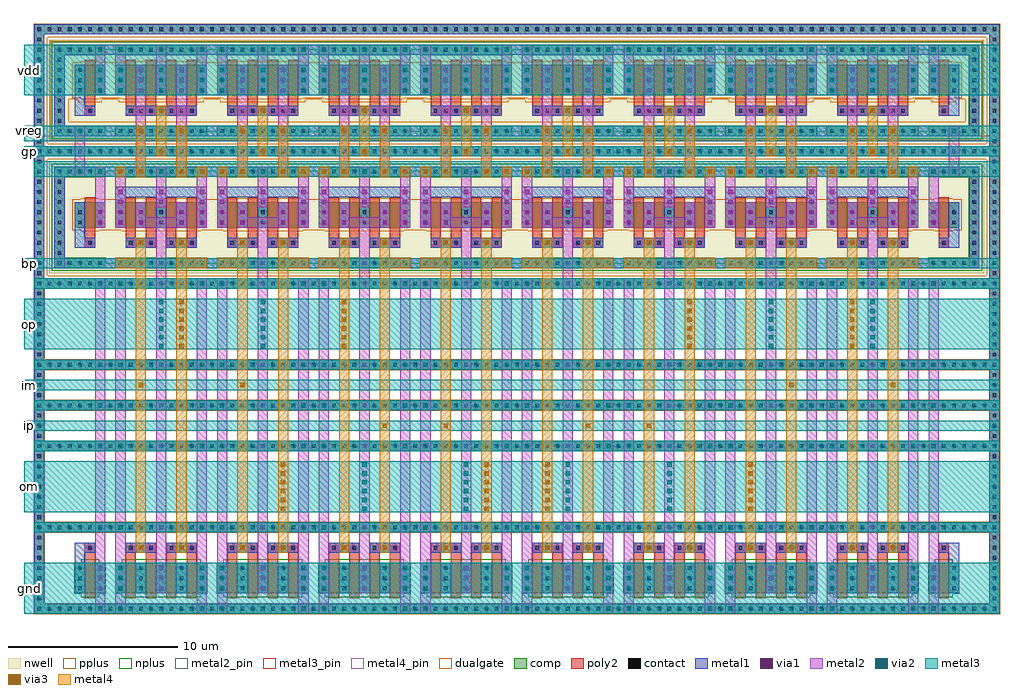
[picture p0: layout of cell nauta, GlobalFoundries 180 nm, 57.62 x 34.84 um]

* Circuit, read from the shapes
.subckt nauta bp gnd gp im ip om op vdd vreg
XM1 gnd nauta_edge_1/lo nauta_edge_1/lo gnd nfet_03v3 w=1.8u l=0.6u
XM2 nauta_cell_0/dl im gnd gnd nfet_03v3 w=1.8u l=0.6u
XM3 op im nauta_cell_0/dl gnd nfet_03v3 w=1.8u l=0.6u
XM4 nauta_cell_0/dr op op gnd nfet_03v3 w=1.8u l=0.6u
XM5 gnd op nauta_cell_0/dr gnd nfet_03v3 w=1.8u l=0.6u
XM6 nauta_cell_2/dl im gnd gnd nfet_03v3 w=1.8u l=0.6u
XM7 op im nauta_cell_2/dl gnd nfet_03v3 w=1.8u l=0.6u
XM8 nauta_cell_2/dr om op gnd nfet_03v3 w=1.8u l=0.6u
XM9 gnd om nauta_cell_2/dr gnd nfet_03v3 w=1.8u l=0.6u
XM10 nauta_cell_3/dl op gnd gnd nfet_03v3 w=1.8u l=0.6u
XM11 om op nauta_cell_3/dl gnd nfet_03v3 w=1.8u l=0.6u
XM12 nauta_cell_3/dr ip om gnd nfet_03v3 w=1.8u l=0.6u
XM13 gnd ip nauta_cell_3/dr gnd nfet_03v3 w=1.8u l=0.6u
XM14 nauta_cell_4/dl ip gnd gnd nfet_03v3 w=1.8u l=0.6u
XM15 om ip nauta_cell_4/dl gnd nfet_03v3 w=1.8u l=0.6u
XM16 nauta_cell_4/dr om om gnd nfet_03v3 w=1.8u l=0.6u
XM17 gnd om nauta_cell_4/dr gnd nfet_03v3 w=1.8u l=0.6u
XM18 nauta_cell_5/dl om gnd gnd nfet_03v3 w=1.8u l=0.6u
XM19 om om nauta_cell_5/dl gnd nfet_03v3 w=1.8u l=0.6u
XM20 nauta_cell_5/dr ip om gnd nfet_03v3 w=1.8u l=0.6u
XM21 gnd ip nauta_cell_5/dr gnd nfet_03v3 w=1.8u l=0.6u
XM22 nauta_cell_6/dl ip gnd gnd nfet_03v3 w=1.8u l=0.6u
XM23 om ip nauta_cell_6/dl gnd nfet_03v3 w=1.8u l=0.6u
XM24 nauta_cell_6/dr op om gnd nfet_03v3 w=1.8u l=0.6u
XM25 gnd op nauta_cell_6/dr gnd nfet_03v3 w=1.8u l=0.6u
XM26 nauta_cell_7/dl om gnd gnd nfet_03v3 w=1.8u l=0.6u
XM27 op om nauta_cell_7/dl gnd nfet_03v3 w=1.8u l=0.6u
XM28 nauta_cell_7/dr im op gnd nfet_03v3 w=1.8u l=0.6u
XM29 gnd im nauta_cell_7/dr gnd nfet_03v3 w=1.8u l=0.6u
XM30 nauta_cell_8/dl op gnd gnd nfet_03v3 w=1.8u l=0.6u
XM31 op op nauta_cell_8/dl gnd nfet_03v3 w=1.8u l=0.6u
XM32 nauta_cell_8/dr im op gnd nfet_03v3 w=1.8u l=0.6u
XM33 gnd im nauta_cell_8/dr gnd nfet_03v3 w=1.8u l=0.6u
XM34 nauta_edge_9/lo nauta_edge_9/lo gnd gnd nfet_03v3 w=1.8u l=0.6u
XM35 vreg nauta_edge_1/hi nauta_edge_1/hi bp pfet_03v3 w=1.5u l=0.6u
XM36 vdd nauta_edge_1/hih nauta_edge_1/hih vdd pfet_06v0 w=1.8u l=0.6u
XM37 op im vreg bp pfet_03v3 w=1.5u l=0.6u m=8
XM38 vreg gp vdd vdd pfet_06v0 w=1.8u l=0.6u m=32
XM39 op op vreg bp pfet_03v3 w=1.5u l=0.6u m=4
XM40 op om vreg bp pfet_03v3 w=1.5u l=0.6u m=4
XM41 om op vreg bp pfet_03v3 w=1.5u l=0.6u m=4
XM42 om ip vreg bp pfet_03v3 w=1.5u l=0.6u m=8
XM43 om om vreg bp pfet_03v3 w=1.5u l=0.6u m=4
XM44 nauta_edge_9/hi nauta_edge_9/hi vreg bp pfet_03v3 w=1.5u l=0.6u
XM45 nauta_edge_9/hih nauta_edge_9/hih vdd vdd pfet_06v0 w=1.8u l=0.6u
.ends

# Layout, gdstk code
from math import pi, radians
import gdstk
lib = gdstk.Library(unit=1e-6, precision=1e-09)
def R(c, l, rs):  # rectangles x0, y0, x1, y1
    for r in rs: c.add(gdstk.rectangle(r[:2], r[2:], *l))
def A(c, l, x, y, w, h, nx, ny, dx, dy):  # array of equal rectangles
    R(c, l, [(x+i*dx, y+j*dy, x+i*dx+w, y+j*dy+h) for i in range(nx) for j in range(ny)])
nwell = (21, 0)
comp = (22, 0)
poly2 = (30, 0)
pplus = (31, 0)
nplus = (32, 0)
contact = (33, 0)
metal1 = (34, 0)
via1 = (35, 0)
metal2 = (36, 0)
metal2_pin = (36, 10)
via2 = (38, 0)
via3 = (40, 0)
metal3 = (42, 0)
metal3_pin = (42, 10)
metal4 = (46, 0)
metal4_pin = (46, 10)
dualgate = (55, 0)

nauta_cell = lib.new_cell('nauta_cell')
R(nauta_cell, nwell, [(-36,13.5,-29.4,20.1), (-36,21.3,-29.4,27.3)])
A(nauta_cell, comp, -36, -6.6, 6.6, 0.6, 1, 3, 0, 4.8)
R(nauta_cell, comp, [(-35.4,-5.4,-30,-3.6), (-36,5.4,-29.4,6), (-36,7.8,-29.4,8.4), (-36,12.6,-29.4,13.2), (-35.4,13.8,-30,14.4), (-35.4,16.2,-30,17.7), (-35.4,19.2,-30,19.8), (-36,20.4,-29.4,21), (-35.4,21.6,-30,22.2), (-35.4,24,-30,25.8), (-35.4,26.4,-30,27), (-36,27.6,-29.4,28.2)])
A(nauta_cell, poly2, -34.8, -5.7, 0.6, 2.7, 4, 2, 1.2, 29.1)
A(nauta_cell, poly2, -34.8, 15.6, 0.6, 2.4, 4, 1, 1.2, 0)
R(nauta_cell, poly2, [(-34.8,-3,-33,-2.4), (-32.4,-3,-30.6,-2.4), (-34.8,15,-33,15.6), (-32.4,15,-30.6,15.6), (-34.8,22.8,-30.6,23.4)])
A(nauta_cell, pplus, -36.02, -6.62, 6.64, 0.64, 1, 3, 0, 4.8)
R(nauta_cell, pplus, [(-36.02,5.38,-29.38,6.02), (-36.02,7.78,-29.38,8.42), (-36.02,12.58,-29.38,12.91), (-36.16,12.91,-29.24,13.36), (-35.03,15.97,-30.37,16.04), (-35.56,16.04,-29.84,17.86), (-35.03,17.86,-30.37,17.93), (-36.16,20.24,-29.24,21.16), (-35.03,23.77,-30.37,23.84), (-35.56,23.84,-29.84,25.96), (-35.03,25.96,-30.37,26.03), (-36.16,27.44,-29.24,27.89), (-36.02,27.89,-29.38,28.22)])
R(nauta_cell, nplus, [(-35.03,-5.63,-30.37,-5.42), (-35.42,-5.42,-29.98,-3.58), (-35.03,-3.58,-30.37,-3.37), (-35.56,13.64,-29.84,14.09), (-35.42,14.09,-29.98,14.42), (-35.42,19.18,-29.98,19.51), (-35.56,19.51,-29.84,19.96), (-35.56,21.44,-29.84,21.89), (-35.42,21.89,-29.98,22.22), (-35.42,26.38,-29.98,26.71), (-35.56,26.71,-29.84,27.16)])
A(nauta_cell, contact, -35.81, -6.41, 0.22, 0.22, 11, 3, 0.6, 4.8)
A(nauta_cell, contact, -35.21, -5.21, 0.22, 0.22, 5, 3, 1.2, 0.6)
A(nauta_cell, contact, -34.61, -2.81, 0.22, 0.22, 3, 2, 0.6, 18)
A(nauta_cell, contact, -32.21, -2.81, 0.22, 0.22, 3, 2, 0.6, 18)
A(nauta_cell, contact, -35.81, 5.59, 0.22, 0.22, 11, 2, 0.6, 2.4)
A(nauta_cell, contact, -35.81, 12.79, 0.22, 0.22, 11, 2, 0.6, 7.8)
A(nauta_cell, contact, -35.21, 13.99, 0.22, 0.22, 9, 2, 0.6, 5.4)
A(nauta_cell, contact, -35.21, 16.39, 0.22, 0.22, 5, 2, 1.2, 0.6)
A(nauta_cell, contact, -35.21, 21.79, 0.22, 0.22, 9, 2, 0.6, 4.8)
A(nauta_cell, contact, -34.61, 22.99, 0.22, 0.22, 7, 1, 0.6, 0)
A(nauta_cell, contact, -35.21, 24.19, 0.22, 0.22, 5, 3, 1.2, 0.6)
A(nauta_cell, contact, -35.81, 27.79, 0.22, 0.22, 11, 1, 0.6, 0)
A(nauta_cell, metal1, -36, -6.6, 6.6, 0.6, 1, 3, 0, 4.8)
A(nauta_cell, metal1, -35.4, -5.4, 0.6, 1.8, 5, 2, 1.2, 29.4)
A(nauta_cell, metal1, -35.4, 16.2, 0.6, 1.8, 3, 1, 2.4, 0)
A(nauta_cell, metal1, -36, 19.2, 6.6, 0.6, 1, 3, 0, 1.2)
R(nauta_cell, metal1, [(-34.8,-3,-33,-2.4), (-32.4,-3,-30.6,-2.4), (-36,5.4,-29.4,6), (-36,7.8,-29.4,8.4), (-36,12.6,-29.4,13.2), (-36,13.8,-29.4,14.4), (-34.8,15,-33,15.6), (-32.4,15,-30.6,15.6), (-34.2,16.2,-33.6,17.7), (-31.8,16.2,-31.2,17.7), (-35.4,18,-30,18.6), (-34.8,22.8,-30.6,23.4), (-36,26.4,-29.4,27), (-36,27.6,-29.4,28.2)])
A(nauta_cell, via1, -35.23, -6.43, 0.26, 0.26, 1, 3, 0, 4.8)
A(nauta_cell, via1, -30.43, -6.43, 0.26, 0.26, 1, 3, 0, 4.8)
A(nauta_cell, via1, -35.23, -5.23, 0.26, 0.26, 3, 3, 2.4, 0.6)
A(nauta_cell, via1, -35.23, 17.57, 0.26, 0.26, 3, 2, 2.4, 0.6)
A(nauta_cell, via1, -35.23, 24.17, 0.26, 0.26, 5, 3, 1.2, 0.6)
A(nauta_cell, via1, -35.23, 26.57, 0.26, 0.26, 3, 1, 2.4, 0)
R(nauta_cell, via1, [(-34.03,-2.83,-33.77,-2.57), (-31.63,-2.83,-31.37,-2.57), (-35.23,5.57,-34.97,5.83), (-30.43,5.57,-30.17,5.83), (-35.23,7.97,-34.97,8.23), (-30.43,7.97,-30.17,8.23), (-35.23,12.77,-34.97,13.03), (-30.43,12.77,-30.17,13.03), (-35.23,13.97,-34.97,14.23), (-30.43,13.97,-30.17,14.23), (-34.03,15.17,-33.77,15.43), (-31.63,15.17,-31.37,15.43), (-35.23,16.37,-34.97,16.63), (-34.03,16.37,-33.77,16.63), (-31.63,16.37,-31.37,16.63), (-30.43,16.37,-30.17,16.63), (-35.23,16.97,-34.97,17.23), (-34.03,16.97,-33.77,17.23), (-31.63,16.97,-31.37,17.23), (-30.43,16.97,-30.17,17.23), (-32.83,22.97,-32.57,23.23)])
A(nauta_cell, metal2, -35.4, 24, 0.6, 3, 3, 1, 2.4, 0)
R(nauta_cell, metal2, [(-35.4,-6.6,-34.8,13.2), (-30.6,-6.6,-30,13.2), (-33,-5.4,-32.4,16.2), (-34.2,-3,-33.6,-2.4), (-31.8,-3,-31.2,-2.4), (-35.4,13.8,-34.8,14.4), (-30.6,13.8,-30,14.4), (-34.2,15,-33.6,15.6), (-31.8,15,-31.2,15.6), (-35.4,16.2,-34.8,19.8), (-34.2,16.2,-31.2,16.8), (-30.6,16.2,-30,19.8), (-34.2,16.8,-33.6,17.7), (-31.8,16.8,-31.2,17.7), (-33,17.4,-32.4,19.8), (-34.2,19.2,-33.6,25.8), (-31.8,19.2,-31.2,25.8), (-33,22.8,-32.4,23.4)])
R(nauta_cell, metal2_pin, [(-33,-0.6,-32.4,12)])
A(nauta_cell, via2, -35.23, -5.23, 0.26, 0.26, 1, 3, 0, 0.6)
A(nauta_cell, via2, -30.43, -5.23, 0.26, 0.26, 1, 3, 0, 0.6)
A(nauta_cell, via2, -35.23, 3.17, 0.26, 0.26, 1, 3, 0, 2.4)
A(nauta_cell, via2, -30.43, 3.17, 0.26, 0.26, 1, 3, 0, 2.4)
A(nauta_cell, via2, -35.23, 19.37, 0.26, 0.26, 5, 1, 1.2, 0)
A(nauta_cell, via2, -35.23, 24.17, 0.26, 0.26, 3, 3, 2.4, 0.6)
A(nauta_cell, via2, -35.23, 26.57, 0.26, 0.26, 3, 1, 2.4, 0)
R(nauta_cell, via2, [(-35.23,-6.43,-34.97,-6.17), (-30.43,-6.43,-30.17,-6.17), (-34.03,-2.83,-33.77,-2.57), (-31.63,-2.83,-31.37,-2.57), (-35.23,-1.63,-34.97,-1.37), (-30.43,-1.63,-30.17,-1.37), (-35.23,12.77,-34.97,13.03), (-30.43,12.77,-30.17,13.03), (-35.23,13.97,-34.97,14.23), (-30.43,13.97,-30.17,14.23), (-34.03,15.17,-33.77,15.43), (-31.63,15.17,-31.37,15.43), (-34.03,21.77,-33.77,22.03), (-31.63,21.77,-31.37,22.03), (-32.83,22.97,-32.57,23.23)])
R(nauta_cell, via3, [(-34.03,-2.83,-33.77,-2.57), (-31.63,-2.83,-31.37,-2.57), (-34.03,15.17,-33.77,15.43), (-31.63,15.17,-31.37,15.43), (-35.23,19.37,-34.97,19.63), (-34.03,19.37,-33.77,19.63), (-31.63,19.37,-31.37,19.63), (-30.43,19.37,-30.17,19.63), (-32.83,20.57,-32.57,20.83), (-34.03,21.77,-33.77,22.03), (-31.63,21.77,-31.37,22.03), (-32.83,22.97,-32.57,23.23)])
A(nauta_cell, metal3, -36, 3, 6.6, 0.6, 1, 5, 0, 1.2)
R(nauta_cell, metal3, [(-36,-6.6,-29.4,-3.6), (-34.2,-3,-33.6,-2.4), (-31.8,-3,-31.2,-2.4), (-36,-1.8,-29.4,-1.2), (-36,-0.6,-29.4,2.4), (-36,9,-29.4,12), (-36,12.6,-29.4,13.2), (-36,13.8,-29.4,14.4), (-34.2,15,-33.6,15.6), (-31.8,15,-31.2,15.6), (-36,19.2,-29.4,20.1), (-36,20.4,-29.4,21), (-36,21.3,-29.4,22.2), (-33,22.8,-32.4,23.4), (-36,24,-29.4,27)])
R(nauta_cell, metal3_pin, [(-36,-6.6,-29.4,-3.6), (-36,-0.6,-29.4,2.4), (-36,4.2,-29.4,4.8), (-36,6.6,-29.4,7.2), (-36,9,-29.4,12), (-36,13.8,-35.4,14.4), (-36,20.4,-35.4,21), (-36,21.6,-35.4,22.2), (-36,24,-29.4,27)])
R(nauta_cell, metal4, [(-34.2,-3,-33.6,13.8), (-31.8,-3,-31.2,13.8), (-35.4,13.8,-33.6,14.4), (-31.8,13.8,-30,14.4), (-34.2,14.4,-33.6,15.6), (-31.8,14.4,-31.2,15.6), (-35.4,19.2,-34.8,19.8), (-34.2,19.2,-33.6,22.2), (-31.8,19.2,-31.2,22.2), (-30.6,19.2,-30,19.8), (-33,20.4,-32.4,23.4)])
R(nauta_cell, metal4_pin, [(-34.2,-0.6,-33.6,12), (-31.8,-0.6,-31.2,12)])
R(nauta_cell, dualgate, [(-35.64,21.36,-29.76,22.44), (-35.2,23.6,-30.2,23.76), (-35.64,23.76,-29.76,27.24)])
nauta_cell.add(gdstk.Label('dl', (-33.9,-4.5), layer=34, texttype=0))
nauta_cell.add(gdstk.Label('dr', (-31.5,-4.5), layer=34, texttype=0))
nauta_cell.add(gdstk.Label('gnd', (-35.1,20.7), layer=34, texttype=0))
nauta_cell.add(gdstk.Label('gnd', (-35.1,27.9), layer=34, texttype=0))
nauta_cell.add(gdstk.Label('inl', (-33.9,5.7), layer=46, texttype=10))
nauta_cell.add(gdstk.Label('inr', (-31.5,5.7), layer=46, texttype=10))
nauta_cell.add(gdstk.Label('out', (-32.7,5.7), layer=36, texttype=10))
nauta_cell.add(gdstk.Label('vdd', (-32.7,25.5), layer=42, texttype=10))
nauta_cell.add(gdstk.Label('gp', (-35.7,20.7), layer=42, texttype=10))
nauta_cell.add(gdstk.Label('bp', (-35.7,14.1), layer=42, texttype=10))
nauta_cell.add(gdstk.Label('vreg', (-35.7,21.9), layer=42, texttype=10))
nauta_cell.add(gdstk.Label('op', (-32.7,10.5), layer=42, texttype=10))
nauta_cell.add(gdstk.Label('im', (-32.7,6.9), layer=42, texttype=10))
nauta_cell.add(gdstk.Label('ip', (-32.7,4.5), layer=42, texttype=10))
nauta_cell.add(gdstk.Label('om', (-32.7,0.9), layer=42, texttype=10))
nauta_cell.add(gdstk.Label('gnd', (-32.7,-5.1), layer=42, texttype=10))

nauta_edge = lib.new_cell('nauta_edge')
R(nauta_edge, nwell, [(-36.9,13.5,-33,20.1), (-36.9,21.3,-33,27.3)])
A(nauta_edge, comp, -37.8, -6.6, 4.8, 0.6, 1, 3, 0, 4.8)
R(nauta_edge, comp, [(-37.8,-6,-37.2,-1.8), (-35.4,-5.4,-33.6,-3.6), (-37.8,-1.2,-37.2,3), (-37.8,3.6,-37.2,5.4), (-37.8,5.4,-33,6), (-37.8,6,-37.2,7.8), (-37.8,7.8,-33,8.4), (-37.8,8.4,-37.2,12.6), (-37.8,12.6,-33,13.2), (-37.8,13.2,-37.2,20.4), (-36.6,13.8,-33.6,14.4), (-36.6,14.4,-36,19.2), (-35.4,16.2,-33.6,17.7), (-36.6,19.2,-33.6,19.8), (-37.8,20.4,-33,21), (-37.8,21,-37.2,27.6), (-36.6,21.6,-33.6,22.2), (-36.6,22.2,-36,26.4), (-35.4,24,-33.6,25.8), (-36.6,26.4,-33.6,27), (-37.8,27.6,-33,28.2)])
R(nauta_edge, poly2, [(-34.8,-5.7,-34.2,-2.4), (-34.8,15,-34.2,18), (-34.8,22.8,-34.2,26.1)])
A(nauta_edge, pplus, -37.82, -6.62, 4.84, 0.64, 1, 3, 0, 4.8)
R(nauta_edge, pplus, [(-37.82,-5.98,-37.18,-1.82), (-37.82,-1.18,-37.18,2.98), (-37.82,3.62,-37.18,5.38), (-37.82,5.38,-32.98,6.02), (-37.82,6.02,-37.18,7.78), (-37.82,7.78,-32.98,8.42), (-37.82,8.42,-37.18,12.58), (-37.82,12.58,-32.98,12.91), (-37.82,12.91,-32.84,13.36), (-37.82,13.36,-37.04,20.24), (-35.03,15.97,-33.97,16.04), (-35.56,16.04,-33.44,17.86), (-35.03,17.86,-33.97,17.93), (-37.82,20.24,-32.84,21.16), (-37.82,21.16,-37.04,27.44), (-35.03,23.77,-33.97,23.84), (-35.56,23.84,-33.44,25.96), (-35.03,25.96,-33.97,26.03), (-37.82,27.44,-32.84,27.89), (-37.82,27.89,-32.98,28.22)])
R(nauta_edge, nplus, [(-35.03,-5.63,-33.97,-5.42), (-35.42,-5.42,-33.58,-3.58), (-35.03,-3.58,-33.97,-3.37), (-36.76,13.64,-33.44,14.09), (-36.76,14.09,-33.58,14.42), (-36.76,14.42,-35.98,19.18), (-36.76,19.18,-33.58,19.51), (-36.76,19.51,-33.44,19.96), (-36.76,21.44,-33.44,21.89), (-36.76,21.89,-33.58,22.22), (-36.76,22.22,-35.98,26.38), (-36.76,26.38,-33.58,26.71), (-36.76,26.71,-33.44,27.16)])
A(nauta_edge, contact, -37.61, -6.41, 0.22, 0.22, 8, 3, 0.6, 4.8)
A(nauta_edge, contact, -37.61, -5.81, 0.22, 0.22, 1, 7, 0, 0.6)
A(nauta_edge, contact, -35.21, -5.21, 0.22, 0.22, 1, 3, 0, 0.6)
A(nauta_edge, contact, -34.01, -5.21, 0.22, 0.22, 1, 3, 0, 0.6)
A(nauta_edge, contact, -37.61, -1.01, 0.22, 0.22, 1, 7, 0, 0.6)
A(nauta_edge, contact, -37.61, 3.79, 0.22, 0.22, 1, 3, 0, 0.6)
A(nauta_edge, contact, -37.61, 5.59, 0.22, 0.22, 8, 2, 0.6, 2.4)
A(nauta_edge, contact, -37.61, 6.19, 0.22, 0.22, 1, 3, 0, 0.6)
A(nauta_edge, contact, -37.61, 8.59, 0.22, 0.22, 1, 7, 0, 0.6)
A(nauta_edge, contact, -37.61, 12.79, 0.22, 0.22, 8, 2, 0.6, 7.8)
A(nauta_edge, contact, -37.61, 13.39, 0.22, 0.22, 1, 5, 0, 0.6)
A(nauta_edge, contact, -36.41, 13.99, 0.22, 0.22, 5, 2, 0.6, 5.4)
A(nauta_edge, contact, -36.41, 14.59, 0.22, 0.22, 1, 3, 0, 0.6)
A(nauta_edge, contact, -37.61, 16.39, 0.22, 0.22, 4, 2, 1.2, 0.6)
A(nauta_edge, contact, -37.61, 17.59, 0.22, 0.22, 1, 5, 0, 0.6)
A(nauta_edge, contact, -36.41, 17.59, 0.22, 0.22, 1, 3, 0, 0.6)
A(nauta_edge, contact, -37.61, 21.19, 0.22, 0.22, 1, 5, 0, 0.6)
A(nauta_edge, contact, -36.41, 21.79, 0.22, 0.22, 5, 2, 0.6, 4.8)
A(nauta_edge, contact, -36.41, 22.39, 0.22, 0.22, 1, 3, 0, 0.6)
A(nauta_edge, contact, -37.61, 24.19, 0.22, 0.22, 4, 3, 1.2, 0.6)
A(nauta_edge, contact, -37.61, 25.99, 0.22, 0.22, 1, 3, 0, 0.6)
A(nauta_edge, contact, -37.61, 27.79, 0.22, 0.22, 8, 1, 0.6, 0)
R(nauta_edge, contact, [(-34.61,-2.81,-34.39,-2.59), (-34.61,15.19,-34.39,15.41), (-34.61,22.99,-34.39,23.21), (-36.41,25.99,-36.19,26.21)])
A(nauta_edge, metal1, -37.8, -6.6, 4.8, 0.6, 1, 3, 0, 4.8)
R(nauta_edge, metal1, [(-37.8,-6,-37.2,-1.8), (-35.4,-5.4,-34.8,-3), (-34.2,-5.4,-33.6,-3.6), (-35.4,-3,-34.2,-2.4), (-37.8,-1.2,-37.2,3), (-37.8,3.6,-37.2,5.4), (-37.8,5.4,-33,6), (-37.8,6,-37.2,7.8), (-37.8,7.8,-33,8.4), (-37.8,8.4,-37.2,12.6), (-37.8,12.6,-33,13.2), (-37.8,13.2,-37.2,20.4), (-36.6,13.8,-33,14.4), (-36.6,14.4,-36,19.2), (-35.4,15,-34.2,15.6), (-35.4,15.6,-34.8,17.7), (-34.2,16.2,-33.6,17.7), (-36.6,19.2,-33.6,19.8), (-37.8,20.4,-33,21), (-37.8,21,-37.2,27.6), (-36.6,21.6,-33,22.2), (-36.6,22.2,-36,26.4), (-35.4,22.8,-34.2,23.4), (-35.4,23.4,-34.8,25.8), (-34.2,24,-33.6,25.8), (-36.6,26.4,-33,27), (-37.8,27.6,-33,28.2)])
A(nauta_edge, via1, -34.03, -5.23, 0.26, 0.26, 1, 3, 0, 0.6)
A(nauta_edge, via1, -34.03, 3.17, 0.26, 0.26, 1, 3, 0, 2.4)
A(nauta_edge, via1, -34.03, 24.17, 0.26, 0.26, 1, 3, 0, 0.6)
R(nauta_edge, via1, [(-34.03,-6.43,-33.77,-6.17), (-34.03,-1.63,-33.77,-1.37), (-34.03,12.77,-33.77,13.03), (-36.43,13.97,-36.17,14.23), (-34.03,16.37,-33.77,16.63), (-34.03,16.97,-33.77,17.23), (-34.03,26.57,-33.77,26.83)])
R(nauta_edge, metal2, [(-34.2,-6.6,-33.6,13.2), (-36.6,13.8,-36,14.4), (-34.2,16.2,-33.6,19.8), (-35.4,19.2,-34.8,22.2), (-34.2,24,-33.6,27)])
A(nauta_edge, via2, -34.03, -6.43, 0.26, 0.26, 1, 3, 0, 4.8)
A(nauta_edge, via2, -34.03, 24.17, 0.26, 0.26, 1, 3, 0, 0.6)
R(nauta_edge, via2, [(-34.03,5.57,-33.77,5.83), (-34.03,7.97,-33.77,8.23), (-34.03,12.77,-33.77,13.03), (-36.43,13.97,-36.17,14.23), (-35.23,19.37,-34.97,19.63), (-34.03,19.37,-33.77,19.63), (-35.23,21.77,-34.97,22.03), (-34.03,26.57,-33.77,26.83)])
A(nauta_edge, metal3, -37.8, 3, 4.8, 0.6, 1, 5, 0, 1.2)
R(nauta_edge, metal3, [(-37.8,-6.6,-33,-3.6), (-37.8,-1.8,-33,-1.2), (-37.8,-0.6,-33,2.4), (-37.8,9,-33,12), (-37.8,12.6,-33,13.2), (-37.8,13.8,-33,14.4), (-37.8,19.2,-33,20.1), (-37.8,20.4,-33,21), (-37.8,21.3,-33,22.2), (-37.8,24,-33,27)])
R(nauta_edge, metal3_pin, [(-37.8,-6.6,-33,-3.6), (-37.8,-0.6,-33,2.4), (-37.8,4.2,-33,4.8), (-37.8,6.6,-33,7.2), (-37.8,9,-33,12), (-37.8,13.8,-33,14.4), (-37.8,20.4,-33,21), (-37.8,21.6,-33,22.2), (-37.8,24,-33,27)])
R(nauta_edge, dualgate, [(-36.84,21.36,-33.36,22.44), (-36.84,22.44,-35.76,23.76), (-35.2,23.6,-33.8,23.76), (-36.84,23.76,-33.36,27.24)])
nauta_edge.add(gdstk.Label('hih', (-35.1,23.1), layer=34, texttype=0))
nauta_edge.add(gdstk.Label('hi', (-35.1,15.3), layer=34, texttype=0))
nauta_edge.add(gdstk.Label('lo', (-35.1,-2.7), layer=34, texttype=0))
nauta_edge.add(gdstk.Label('vdd', (-35.4,25.5), layer=42, texttype=10))
nauta_edge.add(gdstk.Label('gp', (-35.4,20.7), layer=42, texttype=10))
nauta_edge.add(gdstk.Label('bp', (-35.4,14.1), layer=42, texttype=10))
nauta_edge.add(gdstk.Label('vreg', (-35.4,21.9), layer=42, texttype=10))
nauta_edge.add(gdstk.Label('op', (-35.4,10.5), layer=42, texttype=10))
nauta_edge.add(gdstk.Label('im', (-35.4,6.9), layer=42, texttype=10))
nauta_edge.add(gdstk.Label('ip', (-35.4,4.5), layer=42, texttype=10))
nauta_edge.add(gdstk.Label('om', (-35.4,0.9), layer=42, texttype=10))
nauta_edge.add(gdstk.Label('gnd', (-35.4,-5.1), layer=42, texttype=10))

nauta = lib.new_cell('nauta')
A(nauta, pplus, -47.24, 14.24, 0.28, 1.82, 9, 1, 6, 0)
A(nauta, pplus, -47.24, 22.04, 0.28, 2.12, 9, 1, 6, 0)
A(nauta, nplus, -47.24, 11.84, 0.28, 0.45, 9, 2, 6, 5.87)
A(nauta, nplus, -47.24, 19.64, 0.28, 0.45, 9, 2, 6, 5.27)
R(nauta, metal1, [(-46.2,12,-45.6,12.6), (-0.6,12,0,12.6)])
A(nauta, metal2, -32.4, -2.4, 0.6, 3, 4, 1, 6, 0)
R(nauta, metal2, [(-44.4,7.2,-43.8,10.2), (-38.4,7.2,-37.8,10.2), (-8.4,7.2,-7.8,10.2), (-2.4,7.2,-1.8,10.2)])
A(nauta, via2, -32.23, -2.33, 0.26, 0.26, 4, 6, 6, 0.52)
A(nauta, via2, -44.23, 7.27, 0.26, 0.26, 1, 6, 0, 0.52)
A(nauta, via2, -38.23, 7.27, 0.26, 0.26, 1, 6, 0, 0.52)
A(nauta, via2, -8.23, 7.27, 0.26, 0.26, 1, 6, 0, 0.52)
A(nauta, via2, -2.23, 7.27, 0.26, 0.26, 1, 6, 0, 0.52)
A(nauta, via3, -37.03, -2.33, 0.26, 0.26, 1, 6, 0, 0.52)
A(nauta, via3, -25.03, -2.33, 0.26, 0.26, 1, 6, 0, 0.52)
A(nauta, via3, -21.43, -2.33, 0.26, 0.26, 1, 6, 0, 0.52)
A(nauta, via3, -9.43, -2.33, 0.26, 0.26, 1, 6, 0, 0.52)
A(nauta, via3, -43.03, 7.27, 0.26, 0.26, 1, 6, 0, 0.52)
A(nauta, via3, -33.43, 7.27, 0.26, 0.26, 1, 6, 0, 0.52)
A(nauta, via3, -13.03, 7.27, 0.26, 0.26, 1, 6, 0, 0.52)
A(nauta, via3, -3.43, 7.27, 0.26, 0.26, 1, 6, 0, 0.52)
R(nauta, via3, [(-31.03,2.57,-30.77,2.83), (-27.43,2.57,-27.17,2.83), (-19.03,2.57,-18.77,2.83), (-15.43,2.57,-15.17,2.83), (-45.43,4.97,-45.17,5.23), (-39.43,4.97,-39.17,5.23), (-7.03,4.97,-6.77,5.23), (-1.03,4.97,-0.77,5.23)])
A(nauta, metal3, -43.2, 7.2, 0.6, 3, 3, 1, 4.8, 0)
A(nauta, metal3, -13.2, 7.2, 0.6, 3, 3, 1, 4.8, 0)
R(nauta, metal3, [(-52.2,-8.4,-51.6,-5.4), (-52.2,-2.4,-51.6,0.6), (-37.2,-2.4,-36.6,0.6), (-32.4,-2.4,-31.8,0.6), (-26.4,-2.4,-25.8,0.6), (-25.2,-2.4,-24.6,0.6), (-21.6,-2.4,-21,0.6), (-20.4,-2.4,-19.8,0.6), (-14.4,-2.4,-13.8,0.6), (-9.6,-2.4,-9,0.6), (-52.2,2.4,-51.6,3), (-31.2,2.4,-30.6,3), (-27.6,2.4,-27,3), (-19.2,2.4,-18.6,3), (-15.6,2.4,-15,3), (-52.2,4.8,-51.6,5.4), (-45.6,4.8,-45,5.4), (-39.6,4.8,-39,5.4), (-7.2,4.8,-6.6,5.4), (-1.2,4.8,-0.6,5.4), (-52.2,7.2,-51.6,10.2), (-44.4,7.2,-43.8,10.2), (-2.4,7.2,-1.8,10.2), (-52.2,12,-51.6,12.6), (-47.4,12,-44.3,12.6), (-1.9,12,1.2,12.6), (-52.2,18.6,-51.6,19.2), (-52.2,19.5,-51.6,20.4), (-52.2,22.2,-51.6,25.2)])
R(nauta, metal3_pin, [(-52.2,-8.4,-51.6,-5.4), (-52.2,-2.4,-51.6,0.6), (-52.2,2.4,-51.6,3), (-52.2,4.8,-51.6,5.4), (-52.2,7.2,-51.6,10.2), (-52.2,12,-51.6,12.6), (-52.2,18.6,-51.6,19.2), (-52.2,19.8,-51.6,20.4), (-52.2,22.2,-51.6,25.2)])
R(nauta, metal4, [(-37.2,-2.4,-36.6,0.6), (-25.2,-2.4,-24.6,0.6), (-21.6,-2.4,-21,0.6), (-9.6,-2.4,-9,0.6), (-31.2,2.4,-30.6,3), (-27.6,2.4,-27,3), (-19.2,2.4,-18.6,3), (-15.6,2.4,-15,3), (-45.6,4.8,-45,5.4), (-39.6,4.8,-39,5.4), (-7.2,4.8,-6.6,5.4), (-1.2,4.8,-0.6,5.4), (-43.2,7.2,-42.6,10.2), (-33.6,7.2,-33,10.2), (-13.2,7.2,-12.6,10.2), (-3.6,7.2,-3,10.2)])
A(nauta, dualgate, -47.16, 19.56, 0.12, 1.08, 9, 1, 6, 0)
A(nauta, dualgate, -47.16, 21.96, 0.12, 3.48, 9, 1, 6, 0)
nauta.add(gdstk.Reference(nauta_cell, (-11.4,-1.8)))
nauta.add(gdstk.Reference(nauta_edge, (-13.8,-1.8)))
nauta.add(gdstk.Reference(nauta_cell, (-5.4,-1.8)))
nauta.add(gdstk.Reference(nauta_cell, (0.6,-1.8)))
nauta.add(gdstk.Reference(nauta_cell, (6.6,-1.8)))
nauta.add(gdstk.Reference(nauta_cell, (12.6,-1.8)))
nauta.add(gdstk.Reference(nauta_cell, (18.6,-1.8)))
nauta.add(gdstk.Reference(nauta_cell, (24.6,-1.8)))
nauta.add(gdstk.Reference(nauta_cell, (30.6,-1.8)))
nauta.add(gdstk.Reference(nauta_edge, (-32.4,-1.8), rotation=pi, x_reflection=True))
nauta.add(gdstk.Label('ip', (-51.9,2.7), layer=42, texttype=10))
nauta.add(gdstk.Label('im', (-51.9,5.1), layer=42, texttype=10))
nauta.add(gdstk.Label('op', (-51.9,8.7), layer=42, texttype=10))
nauta.add(gdstk.Label('om', (-51.9,-0.9), layer=42, texttype=10))
nauta.add(gdstk.Label('vdd', (-51.9,23.7), layer=42, texttype=10))
nauta.add(gdstk.Label('gp', (-51.9,18.9), layer=42, texttype=10))
nauta.add(gdstk.Label('bp', (-51.9,12.3), layer=42, texttype=10))
nauta.add(gdstk.Label('vreg', (-51.9,20.1), layer=42, texttype=10))
nauta.add(gdstk.Label('gnd', (-51.9,-6.9), layer=42, texttype=10))

lib.write_gds('nauta.gds')
